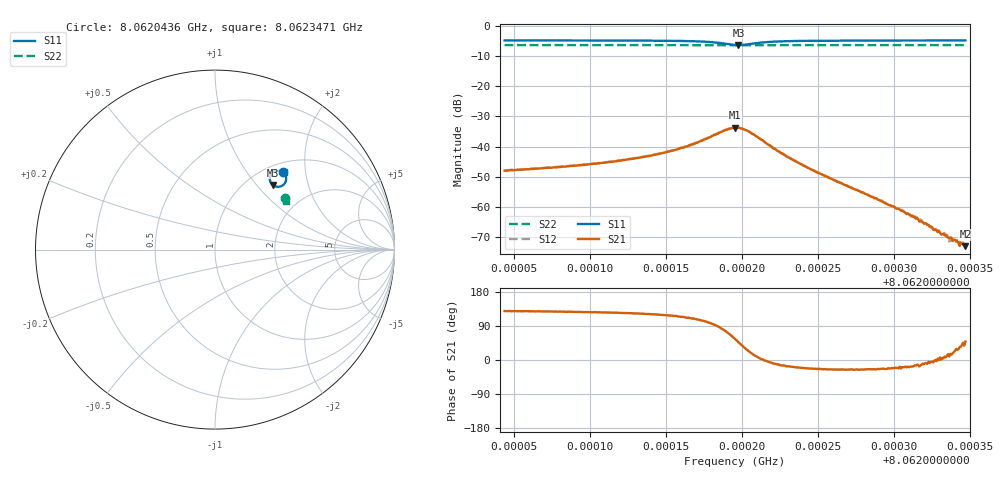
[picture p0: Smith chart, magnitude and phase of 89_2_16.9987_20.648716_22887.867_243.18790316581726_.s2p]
#  HZ  S  RI  R  50.00
! Rohde & Schwarz Vector Network Analyzer
! Rohde-Schwarz,ZNB20-2Port,1311601062101988,3.16
! Created: UTC 3/20/2024, 10:56:03 PM
! freq[Hz]  re:S11  im:S11  re:S21  im:S21  re:S12  im:S12  re:S22  im:S22
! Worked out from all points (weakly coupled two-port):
!   401 points, 8.0620436 GHz to 8.0623471 GHz, reference 50 ohm
!   highest |S21| = -33.72 dB at 8.0621954 GHz (marker M1); lowest = -73.0 dB at 8.0623471 GHz (marker M2)
!   lowest |S11| = -6.3 dB at 8.0621976 GHz (marker M3), VSWR 2.87, Z = 64.9 + j61 ohm
!   |S11| at or under -10 dB: nowhere
!   |S22| runs from -6.4 to -6.3 dB; largest |S21 - S12| = 0.0016
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8.06204358e9  0.3797 0.4325  -0.00253 0.0031  -0.00235 0.00329  0.3874 0.2874
8.06209442e9  0.3852 0.4264  -0.00295 0.00396  -0.00277 0.00416  0.3891 0.2848
8.06212022e9  0.3888 0.4214  -0.00333 0.00486  -0.00303 0.00508  0.39 0.2834
8.06214527e9  0.3933 0.4126  -0.00377 0.00658  -0.00339 0.00694  0.3909 0.2816
8.06216272e9  0.3964 0.4001  -0.00387 0.0092  -0.00327 0.00954  0.3914 0.2803
8.06217942e9  0.3912 0.3739  -0.00174 0.0145  -0.000958 0.0149  0.3913 0.2786
8.06218928e9  0.3652 0.352  0.00469 0.0184  0.00594 0.0181  0.39 0.2775
8.06219536e9  0.3331 0.3533  0.0117 0.017  0.0128 0.0163  0.3889 0.2779
8.06219763e9  0.3212 0.3607  0.014 0.0149  0.0151 0.0142  0.3886 0.2783
8.06220446e9  0.3054 0.3953  0.0164 0.00687  0.0169 0.00594  0.3887 0.2797
8.06221585e9  0.3233 0.4319  0.0114 -0.000435  0.0115 -0.00112  0.3904 0.2804
8.06223102e9  0.3468 0.4409  0.00628 -0.00192  0.00623 -0.00229  0.3921 0.2798
8.0622462e9  0.3591 0.4404  0.00381 -0.00159  0.00371 -0.00186  0.3931 0.2789
8.06229705e9  0.3752 0.4344  0.000994 -0.000408  0.000985 -0.00046  0.3954 0.2759
8.06231374e9  0.3781 0.4328  0.000668 -0.000173  0.000659 -0.000206  0.3958 0.2751
8.06232968e9  0.3801 0.4314  0.000406 -2.23e-06  0.000387 5.23e-06  0.3963 0.2743
8.06233347e9  0.3806 0.4311  0.000335 5.27e-05  0.000361 3.23e-05  0.3965 0.2741
8.06233499e9  0.3808 0.4311  0.000313 6.05e-05  0.000345 1.01e-05  0.3964 0.274
8.06233727e9  0.3812 0.4309  0.0003 8.7e-05  0.000304 4.78e-05  0.3967 0.2738
8.0623403e9  0.3815 0.4305  0.00026 0.000117  0.00027 8.9e-05  0.3967 0.2738
8.06234562e9  0.382 0.4301  0.000167 0.000172  0.000182 0.000185  0.3969 0.2735
8.06234714e9  0.3822 0.4301  0.000148 0.000168  0.000179 0.000158  0.3969 0.2734
